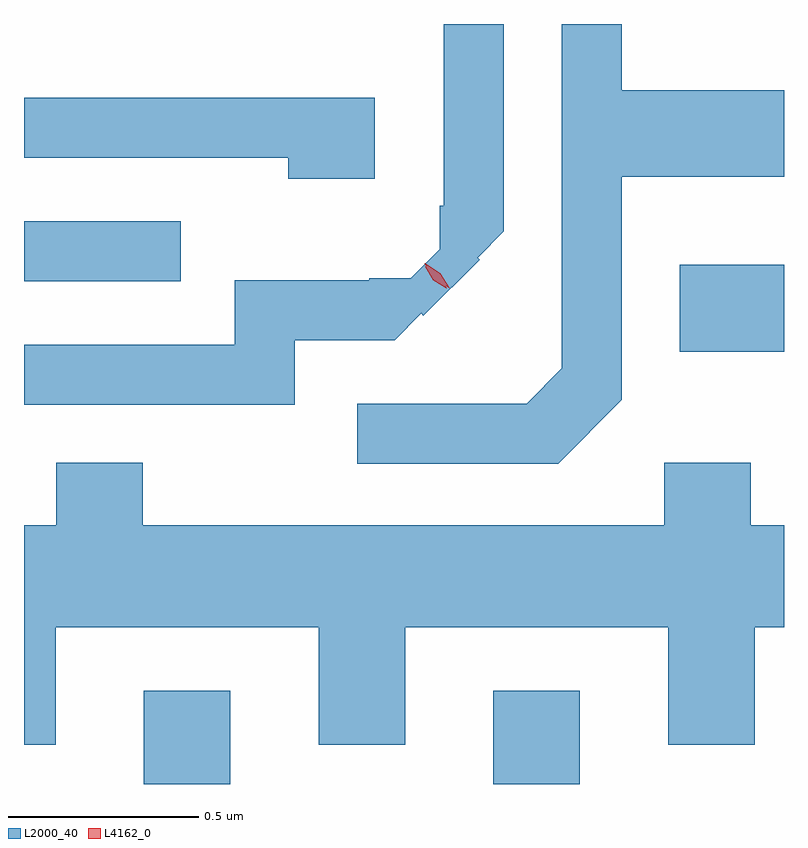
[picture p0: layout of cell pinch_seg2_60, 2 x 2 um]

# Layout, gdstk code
import gdstk
lib = gdstk.Library(unit=1e-6, precision=1e-09)
def R(c, l, rs):  # rectangles x0, y0, x1, y1
    for r in rs: c.add(gdstk.rectangle(r[:2], r[2:], *l))
def P(c, l, *ps):  # polygons
    for p in ps: c.add(gdstk.Polygon(p, *l))
L2000_40 = (2000, 40)
L4162_0 = (4162, 0)

pinch_seg2_60 = lib.new_cell('pinch_seg2_60')
R(pinch_seg2_60, L2000_40, [(1221.161,1063.443,1221.389,1063.689), (1222.081,1063.443,1222.309,1063.689), (1222.571,1064.581,1222.846,1064.809), (1220.846,1064.766,1221.258,1064.924)])
P(pinch_seg2_60, L2000_40, [(1221.559,1064.611),(1221.821,1064.611),(1221.891,1064.682),(1221.897,1064.675),(1222.045,1064.823),(1222.04,1064.828),(1222.109,1064.898),(1222.109,1065.443),(1221.951,1065.443),(1221.951,1064.965),(1221.94,1064.965),(1221.94,1064.85),(1221.864,1064.774),(1221.755,1064.774),(1221.755,1064.769),(1221.401,1064.769),(1221.401,1064.599),(1220.846,1064.599),(1220.846,1064.441),(1221.559,1064.441)],
  [(1222.419,1064.454),(1222.419,1065.041),(1222.846,1065.041),(1222.846,1065.269),(1222.419,1065.269),(1222.419,1065.443),(1222.261,1065.443),(1222.261,1064.537),(1222.169,1064.444),(1221.723,1064.444),(1221.723,1064.286),(1222.252,1064.286)],
  [(1221.769,1065.249),(1220.846,1065.249),(1220.846,1065.091),(1221.541,1065.091),(1221.541,1065.036),(1221.769,1065.036)],
  [(1220.929,1063.856),(1221.621,1063.856),(1221.621,1063.546),(1221.849,1063.546),(1221.849,1063.856),(1222.541,1063.856),(1222.541,1063.546),(1222.769,1063.546),(1222.769,1063.856),(1222.846,1063.856),(1222.846,1064.124),(1222.759,1064.124),(1222.759,1064.289),(1222.531,1064.289),(1222.531,1064.124),(1221.159,1064.124),(1221.159,1064.289),(1220.931,1064.289),(1220.931,1064.124),(1220.846,1064.124),(1220.846,1063.546),(1220.929,1063.546)])
P(pinch_seg2_60, L4162_0, [(1221.966,1064.747),(1221.927,1064.773),(1221.901,1064.812),(1221.901,1064.813),(1221.902,1064.813),(1221.941,1064.787),(1221.967,1064.748),(1221.967,1064.747)],
  [(1221.957,1064.747),(1221.923,1064.769),(1221.902,1064.804),(1221.902,1064.805),(1221.902,1064.805),(1221.937,1064.783),(1221.958,1064.747),(1221.958,1064.747)])

lib.write_gds('pinch_seg2_60.gds')
